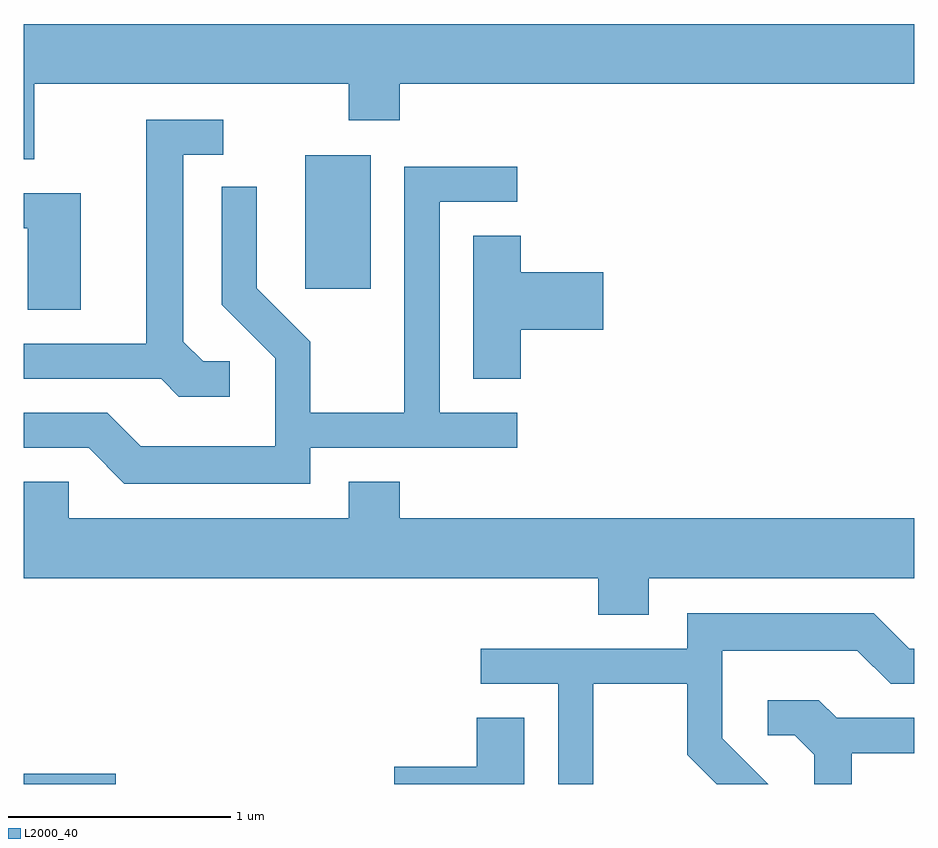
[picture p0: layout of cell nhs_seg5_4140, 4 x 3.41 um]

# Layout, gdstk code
import gdstk
lib = gdstk.Library(unit=1e-6, precision=1e-09)
def R(c, l, rs):  # rectangles x0, y0, x1, y1
    for r in rs: c.add(gdstk.rectangle(r[:2], r[2:], *l))
def P(c, l, *ps):  # polygons
    for p in ps: c.add(gdstk.Polygon(p, *l))
L2000_40 = (2000, 40)

nhs_seg5_4140 = lib.new_cell('nhs_seg5_4140')
R(nhs_seg5_4140, L2000_40, [(307.611,1478.072,308.024,1478.119), (308.876,1480.296,309.169,1480.894)])
P(nhs_seg5_4140, L2000_40, [(307.659,1481.216),(309.071,1481.216),(309.071,1481.051),(309.299,1481.051),(309.299,1481.216),(311.611,1481.216),(311.611,1481.484),(307.611,1481.484),(307.611,1480.876),(307.659,1480.876)],
  [(308.538,1479.969),(308.417,1479.969),(308.329,1480.057),(308.329,1480.896),(308.508,1480.896),(308.508,1481.054),(308.161,1481.054),(308.161,1480.049),(307.611,1480.049),(307.611,1479.891),(308.229,1479.891),(308.309,1479.811),(308.538,1479.811)],
  [(308.899,1479.581),(309.828,1479.581),(309.828,1479.739),(309.479,1479.739),(309.479,1480.686),(309.828,1480.686),(309.828,1480.844),(309.321,1480.844),(309.321,1479.739),(308.899,1479.739),(308.899,1480.057),(308.659,1480.297),(308.659,1480.753),(308.501,1480.753),(308.501,1480.224),(308.741,1479.984),(308.741,1479.589),(308.137,1479.589),(307.987,1479.739),(307.611,1479.739),(307.611,1479.581),(307.904,1479.581),(308.064,1479.421),(308.899,1479.421)],
  [(307.869,1480.724),(307.611,1480.724),(307.611,1480.566),(307.631,1480.566),(307.631,1480.201),(307.869,1480.201)],
  [(309.844,1480.111),(310.214,1480.111),(310.214,1480.369),(309.844,1480.369),(309.844,1480.534),(309.631,1480.534),(309.631,1479.891),(309.844,1479.891)],
  [(310.419,1478.996),(311.611,1478.996),(311.611,1479.264),(309.299,1479.264),(309.299,1479.429),(309.071,1479.429),(309.071,1479.264),(307.814,1479.264),(307.814,1479.429),(307.611,1479.429),(307.611,1478.996),(310.191,1478.996),(310.191,1478.831),(310.419,1478.831)],
  [(310.169,1478.521),(310.591,1478.521),(310.591,1478.204),(310.723,1478.072),(310.954,1478.072),(310.749,1478.277),(310.749,1478.671),(311.354,1478.671),(311.504,1478.521),(311.611,1478.521),(311.611,1478.679),(311.587,1478.679),(311.427,1478.839),(310.591,1478.839),(310.591,1478.679),(309.663,1478.679),(309.663,1478.521),(310.011,1478.521),(310.011,1478.072),(310.169,1478.072)],
  [(311.329,1478.211),(311.611,1478.211),(311.611,1478.369),(311.262,1478.369),(311.182,1478.449),(310.953,1478.449),(310.953,1478.291),(311.074,1478.291),(311.161,1478.204),(311.161,1478.072),(311.329,1478.072)],
  [(309.859,1478.369),(309.646,1478.369),(309.646,1478.149),(309.276,1478.149),(309.276,1478.072),(309.859,1478.072)])

lib.write_gds('nhs_seg5_4140.gds')
